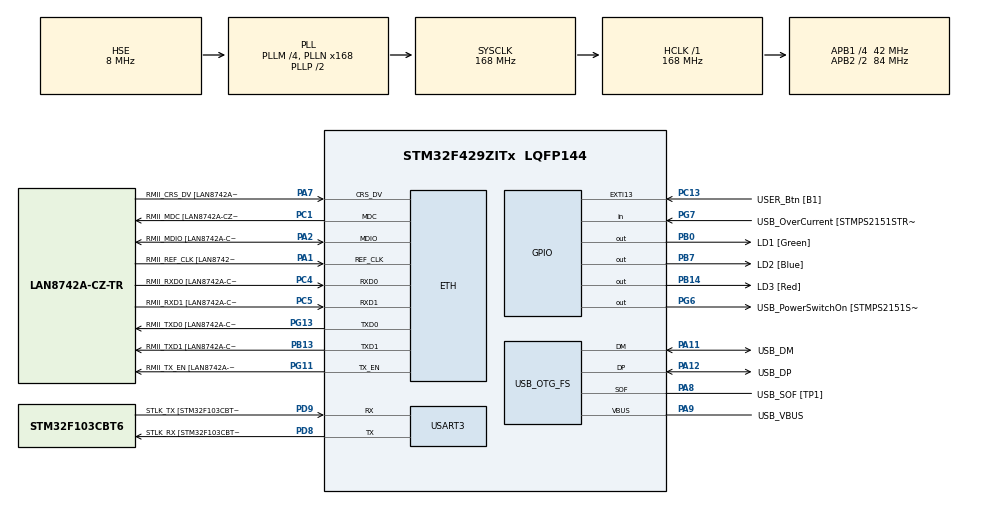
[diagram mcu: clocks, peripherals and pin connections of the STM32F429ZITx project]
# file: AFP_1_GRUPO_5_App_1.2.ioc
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ETH.MediaInterface=HAL_ETH_RMII_MODE
ETH.PHY_Name=LAN8742A_PHY_ADDRESS
ETH.PHY_Value=0
ETH.PhyAddress=0
Mcu.Family=STM32F4
Mcu.Name=STM32F429ZITx
Mcu.Package=LQFP144
NVIC.PriorityGroup=NVIC_PRIORITYGROUP_4
PA1.GPIO_Label=RMII_REF_CLK [LAN8742A-CZ-TR_REFCLK0]
PA1.Mode=RMII
PA1.Signal=ETH_REF_CLK
PA10.GPIO_Label=USB_ID
PA10.Signal=USB_OTG_FS_ID
PA11.GPIO_Label=USB_DM
PA11.Mode=Device_Only
PA11.Signal=USB_OTG_FS_DM
PA12.GPIO_Label=USB_DP
PA12.Mode=Device_Only
PA12.Signal=USB_OTG_FS_DP
PA13.GPIO_Label=TMS
PA13.Mode=Serial_Wire
PA13.Signal=SYS_JTMS-SWDIO
PA14.GPIO_Label=TCK
PA14.Mode=Serial_Wire
PA14.Signal=SYS_JTCK-SWCLK
PA2.GPIO_Label=RMII_MDIO [LAN8742A-CZ-TR_MDIO]
PA2.Mode=RMII
PA2.Signal=ETH_MDIO
PA7.GPIO_Label=RMII_CRS_DV [LAN8742A-CZ-TR_CRS_DV]
PA7.Mode=RMII
PA7.Signal=ETH_CRS_DV
PA8.GPIO_Label=USB_SOF [TP1]
PA8.Mode=Activate_SOF_FS
PA8.Signal=USB_OTG_FS_SOF
PA9.GPIO_Label=USB_VBUS
PA9.Mode=Activate_VBUS
PA9.Signal=USB_OTG_FS_VBUS
PB0.GPIO_Label=LD1 [Green]
PB0.Signal=GPIO_Output
PB13.GPIO_Label=RMII_TXD1 [LAN8742A-CZ-TR_TXD1]
PB13.Mode=RMII
PB13.Signal=ETH_TXD1
PB14.GPIO_Label=LD3 [Red]
PB14.Signal=GPIO_Output
PB7.GPIO_Label=LD2 [Blue]
PB7.Signal=GPIO_Output
PC1.GPIO_Label=RMII_MDC [LAN8742A-CZ-TR_MDC]
PC1.Mode=RMII
PC1.Signal=ETH_MDC
PC13.GPIO_Label=USER_Btn [B1]
PC13.Signal=GPXTI13
PC14/OSC32_IN.Mode=LSE-External-Oscillator
PC14/OSC32_IN.Signal=RCC_OSC32_IN
PC15/OSC32_OUT.Mode=LSE-External-Oscillator
PC15/OSC32_OUT.Signal=RCC_OSC32_OUT
PC4.GPIO_Label=RMII_RXD0 [LAN8742A-CZ-TR_RXD0]
PC4.Mode=RMII
PC4.Signal=ETH_RXD0
PC5.GPIO_Label=RMII_RXD1 [LAN8742A-CZ-TR_RXD1]
PC5.Mode=RMII
PC5.Signal=ETH_RXD1
PD8.GPIO_Label=STLK_RX [STM32F103CBT6_PA3]
PD8.Mode=Asynchronous
PD8.Signal=USART3_TX
PD9.GPIO_Label=STLK_TX [STM32F103CBT6_PA2]
PD9.Mode=Asynchronous
PD9.Signal=USART3_RX
PG11.GPIO_Label=RMII_TX_EN [LAN8742A-CZ-TR_TXEN]
PG11.Mode=RMII
PG11.Signal=ETH_TX_EN
PG13.GPIO_Label=RMII_TXD0 [LAN8742A-CZ-TR_TXD0]
PG13.Mode=RMII
PG13.Signal=ETH_TXD0
PG6.GPIO_Label=USB_PowerSwitchOn [STMPS2151STR_EN]
PG6.Signal=GPIO_Output
PG7.GPIO_Label=USB_OverCurrent [STMPS2151STR_FAULT]
PG7.Signal=GPIO_Input
PH0/OSC_IN.GPIO_Label=MCO [STM32F103CBT6_PA8]
PH0/OSC_IN.Mode=HSE-External-Clock-Source
PH0/OSC_IN.Signal=RCC_OSC_IN
PH1/OSC_OUT.Mode=HSE-External-Clock-Source
PH1/OSC_OUT.Signal=RCC_OSC_OUT
ProjectManager.HeapSize=0x200
ProjectManager.StackSize=0x400
ProjectManager.TargetToolchain=STM32CubeIDE
RCC.48MHZClocksFreq_Value=48000000
RCC.AHBFreq_Value=168000000
RCC.APB1CLKDivider=RCC_HCLK_DIV4
RCC.APB1Freq_Value=42000000
RCC.APB1TimFreq_Value=84000000
RCC.APB2CLKDivider=RCC_HCLK_DIV2
RCC.APB2Freq_Value=84000000
RCC.APB2TimCLKDivider=2
RCC.APB2TimFreq_Value=168000000
RCC.CortexFreq_Value=168000000
RCC.HCLKFreq_Value=168000000
RCC.HSE_VALUE=8000000
RCC.HSI_VALUE=16000000
RCC.PLLM=4
RCC.PLLMUL=RCC_PLL_MUL9
RCC.PLLN=168
RCC.PLLQ=7
RCC.PRESCALERUSB=RCC_USBCLKSOURCE_PLL_DIV1_5
RCC.SYSCLKFreq_VALUE=168000000
RCC.SYSCLKSource=RCC_SYSCLKSOURCE_PLLCLK
RCC.SYSCLKSourceVirtual=RCC_SYSCLKSOURCE_PLLCLK
RCC.USBFreq_Value=48000000
RCC.VCOOutputFreq_Value=336000000
USART3.VirtualMode=VM_ASYNC
USB_OTG_FS.VirtualMode=Device_Only
board=NUCLEO-F429ZI

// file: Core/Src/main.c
/* USER CODE BEGIN Header */
/**
  ******************************************************************************
  * @file           : main.c
  * @brief          : Main program body
  ******************************************************************************
  * @attention
  *
  * Copyright (c) 2024 STMicroelectronics.
  * All rights reserved.
  *
  * This software is licensed under terms that can be found in the LICENSE file
  * in the root directory of this software component.
  * If no LICENSE file comes with this software, it is provided AS-IS.
  *
  ******************************************************************************
  */
/* USER CODE END Header */
#include "main.h"
#include "string.h"

ETH_TxPacketConfig TxConfig;
ETH_DMADescTypeDef  DMARxDscrTab[ETH_RX_DESC_CNT]; /* Ethernet Rx DMA Descriptors */
ETH_DMADescTypeDef  DMATxDscrTab[ETH_TX_DESC_CNT]; /* Ethernet Tx DMA Descriptors */

ETH_HandleTypeDef heth;

UART_HandleTypeDef huart3;

PCD_HandleTypeDef hpcd_USB_OTG_FS;

void SystemClock_Config(void);
static void MX_GPIO_Init(void);
static void MX_ETH_Init(void);
static void MX_USART3_UART_Init(void);
static void MX_USB_OTG_FS_PCD_Init(void);

int main(void)
{

  /* MCU Configuration--------------------------------------------------------*/

  /* Reset of all peripherals, Initializes the Flash interface and the Systick. */
  HAL_Init();

  /* Configure the system clock */
  SystemClock_Config();

  /* Initialize all configured peripherals */
  MX_GPIO_Init();
  MX_ETH_Init();
  MX_USART3_UART_Init();
  MX_USB_OTG_FS_PCD_Init();
  /* USER CODE BEGIN 2 */
  uint16_t vector_leds [CANT_LEDS] = {LD1_Pin, LD2_Pin, LD3_Pin};
  uint16_t sec_actual = 1;
  /* USER CODE END 2 */

  /* Infinite loop */
  while (1)
  {
	  switch (sec_actual){
	  case 1:
		  sec_actual = secuencia1(vector_leds);
		  break;
	  case 2:
		  sec_actual = secuencia2(vector_leds);
		  break;
		  default:
		  for(int j=0;j<CANT_LEDS;j++){
		  	HAL_GPIO_WritePin(GPIOB, vector_leds[j], GPIO_PIN_RESET);
		  	  }
		  break;
	  }
  }
}

void SystemClock_Config(void)
{
  RCC_OscInitTypeDef RCC_OscInitStruct = {0};
  RCC_ClkInitTypeDef RCC_ClkInitStruct = {0};

  /** Configure the main internal regulator output voltage
  */
  __HAL_RCC_PWR_CLK_ENABLE();
  __HAL_PWR_VOLTAGESCALING_CONFIG(PWR_REGULATOR_VOLTAGE_SCALE1);

  /** Initializes the RCC Oscillators according to the specified parameters
  * in the RCC_OscInitTypeDef structure.
  */
  RCC_OscInitStruct.OscillatorType = RCC_OSCILLATORTYPE_HSE;
  RCC_OscInitStruct.HSEState = RCC_HSE_BYPASS;
  RCC_OscInitStruct.PLL.PLLState = RCC_PLL_ON;
  RCC_OscInitStruct.PLL.PLLSource = RCC_PLLSOURCE_HSE;
  RCC_OscInitStruct.PLL.PLLM = 4;
  RCC_OscInitStruct.PLL.PLLN = 168;
  RCC_OscInitStruct.PLL.PLLP = RCC_PLLP_DIV2;
  RCC_OscInitStruct.PLL.PLLQ = 7;
  if (HAL_RCC_OscConfig(&RCC_OscInitStruct) != HAL_OK)
  {
    Error_Handler();
  }

  /** Initializes the CPU, AHB and APB buses clocks
  */
  RCC_ClkInitStruct.ClockType = RCC_CLOCKTYPE_HCLK|RCC_CLOCKTYPE_SYSCLK
                              |RCC_CLOCKTYPE_PCLK1|RCC_CLOCKTYPE_PCLK2;
  RCC_ClkInitStruct.SYSCLKSource = RCC_SYSCLKSOURCE_PLLCLK;
  RCC_ClkInitStruct.AHBCLKDivider = RCC_SYSCLK_DIV1;
  RCC_ClkInitStruct.APB1CLKDivider = RCC_HCLK_DIV4;
  RCC_ClkInitStruct.APB2CLKDivider = RCC_HCLK_DIV2;

  if (HAL_RCC_ClockConfig(&RCC_ClkInitStruct, FLASH_LATENCY_5) != HAL_OK)
  {
    Error_Handler();
  }
}

static void MX_ETH_Init(void)
{

   static uint8_t MACAddr[6];

  heth.Instance = ETH;
  MACAddr[0] = 0x00;
  MACAddr[1] = 0x80;
  MACAddr[2] = 0xE1;
  MACAddr[3] = 0x00;
  MACAddr[4] = 0x00;
  MACAddr[5] = 0x00;
  heth.Init.MACAddr = &MACAddr[0];
  heth.Init.MediaInterface = HAL_ETH_RMII_MODE;
  heth.Init.TxDesc = DMATxDscrTab;
  heth.Init.RxDesc = DMARxDscrTab;
  heth.Init.RxBuffLen = 1524;

  if (HAL_ETH_Init(&heth) != HAL_OK)
  {
    Error_Handler();
  }

  memset(&TxConfig, 0 , sizeof(ETH_TxPacketConfig));
  TxConfig.Attributes = ETH_TX_PACKETS_FEATURES_CSUM | ETH_TX_PACKETS_FEATURES_CRCPAD;
  TxConfig.ChecksumCtrl = ETH_CHECKSUM_IPHDR_PAYLOAD_INSERT_PHDR_CALC;
  TxConfig.CRCPadCtrl = ETH_CRC_PAD_INSERT;

}

static void MX_USART3_UART_Init(void)
{

  huart3.Instance = USART3;
  huart3.Init.BaudRate = 115200;
  huart3.Init.WordLength = UART_WORDLENGTH_8B;
  huart3.Init.StopBits = UART_STOPBITS_1;
  huart3.Init.Parity = UART_PARITY_NONE;
  huart3.Init.Mode = UART_MODE_TX_RX;
  huart3.Init.HwFlowCtl = UART_HWCONTROL_NONE;
  huart3.Init.OverSampling = UART_OVERSAMPLING_16;
  if (HAL_UART_Init(&huart3) != HAL_OK)
  {
    Error_Handler();
  }

}

static void MX_USB_OTG_FS_PCD_Init(void)
{

  hpcd_USB_OTG_FS.Instance = USB_OTG_FS;
  hpcd_USB_OTG_FS.Init.dev_endpoints = 4;
  hpcd_USB_OTG_FS.Init.speed = PCD_SPEED_FULL;
  hpcd_USB_OTG_FS.Init.dma_enable = DISABLE;
  hpcd_USB_OTG_FS.Init.phy_itface = PCD_PHY_EMBEDDED;
  hpcd_USB_OTG_FS.Init.Sof_enable = ENABLE;
  hpcd_USB_OTG_FS.Init.low_power_enable = DISABLE;
  hpcd_USB_OTG_FS.Init.lpm_enable = DISABLE;
  hpcd_USB_OTG_FS.Init.vbus_sensing_enable = ENABLE;
  hpcd_USB_OTG_FS.Init.use_dedicated_ep1 = DISABLE;
  if (HAL_PCD_Init(&hpcd_USB_OTG_FS) != HAL_OK)
  {
    Error_Handler();
  }

}

static void MX_GPIO_Init(void)
{
  GPIO_InitTypeDef GPIO_InitStruct = {0};

  /* GPIO Ports Clock Enable */
  __HAL_RCC_GPIOC_CLK_ENABLE();
  __HAL_RCC_GPIOH_CLK_ENABLE();
  __HAL_RCC_GPIOA_CLK_ENABLE();
  __HAL_RCC_GPIOB_CLK_ENABLE();
  __HAL_RCC_GPIOD_CLK_ENABLE();
  __HAL_RCC_GPIOG_CLK_ENABLE();

  /*Configure GPIO pin Output Level */
  HAL_GPIO_WritePin(GPIOB, LD1_Pin|LD3_Pin|LD2_Pin, GPIO_PIN_RESET);

  /*Configure GPIO pin Output Level */
  HAL_GPIO_WritePin(USB_PowerSwitchOn_GPIO_Port, USB_PowerSwitchOn_Pin, GPIO_PIN_RESET);

  /*Configure GPIO pin : USER_Btn_Pin */
  GPIO_InitStruct.Pin = USER_Btn_Pin;
  GPIO_InitStruct.Mode = GPIO_MODE_IT_RISING;
  GPIO_InitStruct.Pull = GPIO_NOPULL;
  HAL_GPIO_Init(USER_Btn_GPIO_Port, &GPIO_InitStruct);

  /*Configure GPIO pins : LD1_Pin LD3_Pin LD2_Pin */
  GPIO_InitStruct.Pin = LD1_Pin|LD3_Pin|LD2_Pin;
  GPIO_InitStruct.Mode = GPIO_MODE_OUTPUT_PP;
  GPIO_InitStruct.Pull = GPIO_NOPULL;
  GPIO_InitStruct.Speed = GPIO_SPEED_FREQ_LOW;
  HAL_GPIO_Init(GPIOB, &GPIO_InitStruct);

  /*Configure GPIO pin : USB_PowerSwitchOn_Pin */
  GPIO_InitStruct.Pin = USB_PowerSwitchOn_Pin;
  GPIO_InitStruct.Mode = GPIO_MODE_OUTPUT_PP;
  GPIO_InitStruct.Pull = GPIO_NOPULL;
  GPIO_InitStruct.Speed = GPIO_SPEED_FREQ_LOW;
  HAL_GPIO_Init(USB_PowerSwitchOn_GPIO_Port, &GPIO_InitStruct);

  /*Configure GPIO pin : USB_OverCurrent_Pin */
  GPIO_InitStruct.Pin = USB_OverCurrent_Pin;
  GPIO_InitStruct.Mode = GPIO_MODE_INPUT;
  GPIO_InitStruct.Pull = GPIO_NOPULL;
  HAL_GPIO_Init(USB_OverCurrent_GPIO_Port, &GPIO_InitStruct);

}

/* USER CODE BEGIN 4 */
uint8_t secuencia1 (uint16_t* vector_leds)
{

	for(int i=0; i<CANT_LEDS;i++){
		/*TIEMPO DE ENCENDIDO*/
		for(int tick=0;tick<Delay_ms;tick++){
			if(HAL_GPIO_ReadPin(USER_Btn_GPIO_Port, USER_Btn_Pin) == GPIO_PIN_SET){
				while(HAL_GPIO_ReadPin(USER_Btn_GPIO_Port, USER_Btn_Pin) == GPIO_PIN_SET){}; //Antirebote por SW
				for(int j=0;j<CANT_LEDS;j++){
					HAL_GPIO_WritePin(GPIOB, vector_leds[j], GPIO_PIN_RESET);
				}
				return 2;
			}
			HAL_GPIO_WritePin(GPIOB, vector_leds[i], GPIO_PIN_SET);
			HAL_Delay(1);
		}
		/*TIEMPO DE APAGADO*/
		for(int tick=0;tick<Delay_ms;tick++){
			if(HAL_GPIO_ReadPin(USER_Btn_GPIO_Port, USER_Btn_Pin) == GPIO_PIN_SET){
				while(HAL_GPIO_ReadPin(USER_Btn_GPIO_Port, USER_Btn_Pin) == GPIO_PIN_SET){};
				for(int j=0;j<CANT_LEDS;j++){
					HAL_GPIO_WritePin(GPIOB, vector_leds[j], GPIO_PIN_RESET);
				}
				return 2;
			}
			HAL_GPIO_WritePin(GPIOB, vector_leds[i], GPIO_PIN_RESET);
			HAL_Delay(1);
		}
	}
	return 1;
}

uint8_t secuencia2 (uint16_t* vector_leds)
{
	for(int i=(CANT_LEDS-1);i>=0;i--){
		/*TIEMPO DE ENCENDIDO*/
		for(int tick=0;tick<Delay_ms;tick++){
			if(HAL_GPIO_ReadPin(USER_Btn_GPIO_Port, USER_Btn_Pin) == GPIO_PIN_SET){
				while(HAL_GPIO_ReadPin(USER_Btn_GPIO_Port, USER_Btn_Pin) == GPIO_PIN_SET){}; //Antirebote por SW
				for(int j=0;j<CANT_LEDS;j++){
					HAL_GPIO_WritePin(GPIOB, vector_leds[j], GPIO_PIN_RESET);
				}
				return 1;
			}
			HAL_GPIO_WritePin(GPIOB, vector_leds[i], GPIO_PIN_SET);
			HAL_Delay(1);
		}
		/*TIEMPO DE APAGADO*/
		for(int tick=0;tick<Delay_ms;tick++){
			if(HAL_GPIO_ReadPin(USER_Btn_GPIO_Port, USER_Btn_Pin) == GPIO_PIN_SET){
				while(HAL_GPIO_ReadPin(USER_Btn_GPIO_Port, USER_Btn_Pin) == GPIO_PIN_SET){};
				for(int j=0;j<CANT_LEDS;j++){
					HAL_GPIO_WritePin(GPIOB, vector_leds[j], GPIO_PIN_RESET);
				}
				return 1;
			}
			HAL_GPIO_WritePin(GPIOB, vector_leds[i], GPIO_PIN_RESET);
			HAL_Delay(1);
		}
	}
	return 2;
}
/* USER CODE END 4 */

void Error_Handler(void)
{
  __disable_irq();
  while (1)
  {
  }
}
